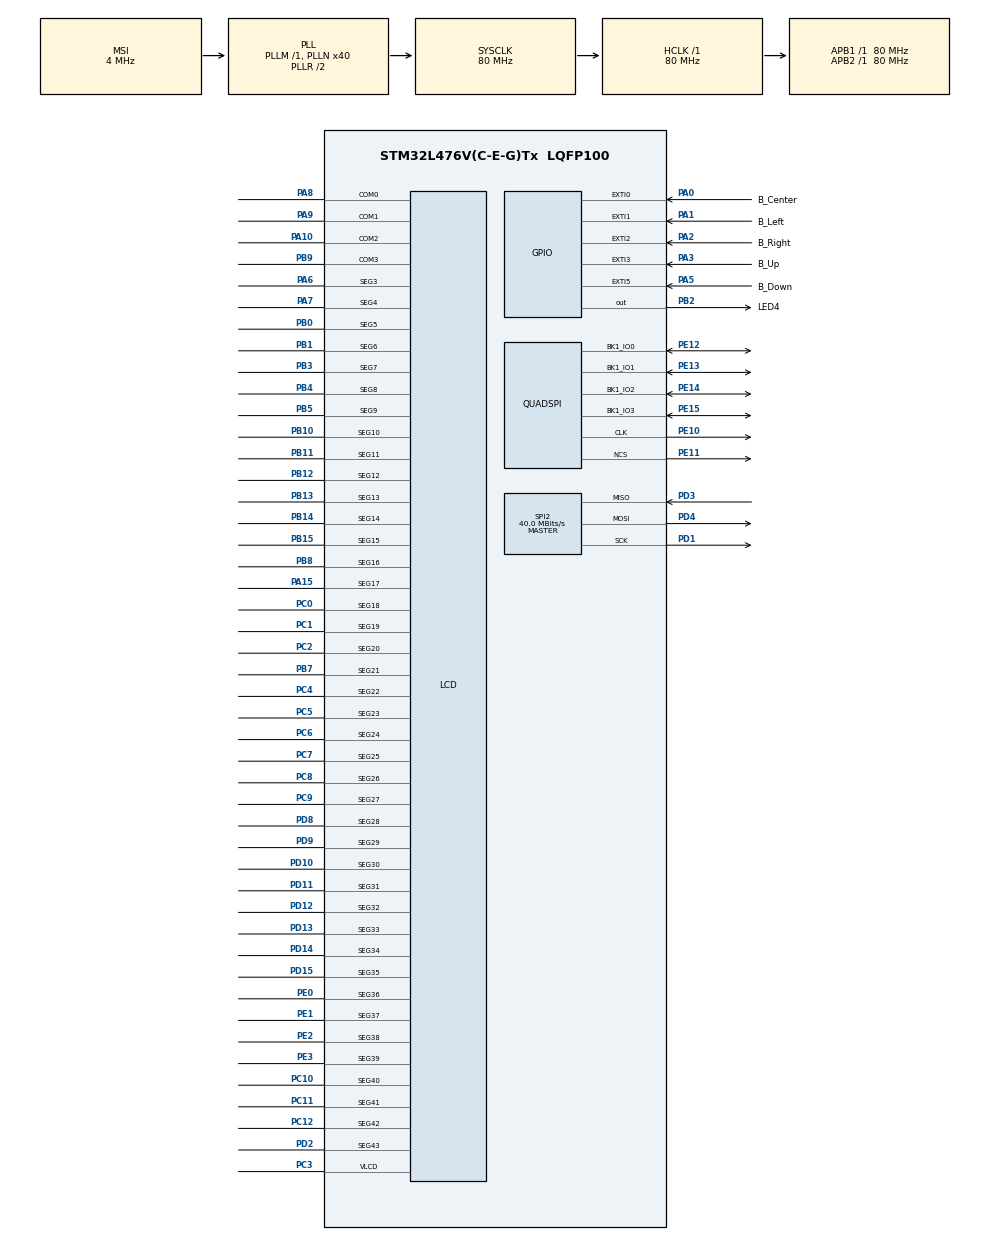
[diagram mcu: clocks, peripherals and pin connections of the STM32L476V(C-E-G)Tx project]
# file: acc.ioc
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Mcu.Family=STM32L4
Mcu.Name=STM32L476V(C-E-G)Tx
Mcu.Package=LQFP100
Mcu.UserConstants=TIM6_PRESCALER,39999;TIM6_PERIOD,1999
NVIC.EXTI0_IRQn=true\:0\:0\:false\:false\:true
NVIC.EXTI1_IRQn=true\:0\:0\:false\:false\:true
NVIC.EXTI2_IRQn=true\:0\:0\:false\:false\:true
NVIC.EXTI3_IRQn=true\:0\:0\:false\:false\:true
NVIC.EXTI9_5_IRQn=true\:0\:0\:false\:false\:true
NVIC.PriorityGroup=NVIC_PRIORITYGROUP_4
NVIC.TIM6_DAC_IRQn=true\:0\:0\:false\:false\:true
PA0.GPIO_Label=B_Center
PA0.Signal=GPXTI0
PA1.GPIO_Label=B_Left
PA1.Signal=GPXTI1
PA10.Mode=1/4 Duty Cycle
PA10.Signal=LCD_COM2
PA15.Mode=SEG17
PA15.Signal=LCD_SEG17
PA2.GPIO_Label=B_Right
PA2.Signal=GPXTI2
PA3.GPIO_Label=B_Up
PA3.Signal=GPXTI3
PA5.GPIO_Label=B_Down
PA5.Signal=GPXTI5
PA6.Mode=SEG3
PA6.Signal=LCD_SEG3
PA7.Mode=SEG4
PA7.Signal=LCD_SEG4
PA8.Mode=1/4 Duty Cycle
PA8.Signal=LCD_COM0
PA9.Mode=1/4 Duty Cycle
PA9.Signal=LCD_COM1
PB0.Mode=SEG5
PB0.Signal=LCD_SEG5
PB1.Mode=SEG6
PB1.Signal=LCD_SEG6
PB10.Mode=SEG10
PB10.Signal=LCD_SEG10
PB11.Mode=SEG11
PB11.Signal=LCD_SEG11
PB12.Mode=SEG12
PB12.Signal=LCD_SEG12
PB13.Mode=SEG13
PB13.Signal=LCD_SEG13
PB14.Mode=SEG14
PB14.Signal=LCD_SEG14
PB15.Mode=SEG15
PB15.Signal=LCD_SEG15
PB2.GPIO_Label=LED4
PB2.Signal=GPIO_Output
PB3.Mode=SEG7
PB3.Signal=LCD_SEG7
PB4.Mode=SEG8
PB4.Signal=LCD_SEG8
PB5.Mode=SEG9
PB5.Signal=LCD_SEG9
PB7.Mode=SEG21
PB7.Signal=LCD_SEG21
PB8.Mode=SEG16
PB8.Signal=LCD_SEG16
PB9.Mode=1/4 Duty Cycle
PB9.Signal=LCD_COM3
PC0.Mode=SEG18
PC0.Signal=LCD_SEG18
PC1.Mode=SEG19
PC1.Signal=LCD_SEG19
PC10.Mode=SEG40
PC10.Signal=LCD_SEG40
PC11.Mode=SEG41
PC11.Signal=LCD_SEG41
PC12.Mode=SEG42
PC12.Signal=LCD_SEG42
PC2.Mode=SEG20
PC2.Signal=LCD_SEG20
PC3.Mode=1/4 Duty Cycle
PC3.Signal=LCD_VLCD
PC4.Mode=SEG22
PC4.Signal=LCD_SEG22
PC5.Mode=SEG23
PC5.Signal=LCD_SEG23
PC6.Mode=SEG24
PC6.Signal=LCD_SEG24
PC7.Mode=SEG25
PC7.Signal=LCD_SEG25
PC8.Mode=SEG26
PC8.Signal=LCD_SEG26
PC9.Mode=SEG27
PC9.Signal=LCD_SEG27
PD1.Mode=Full_Duplex_Master
PD1.Signal=SPI2_SCK
PD10.Mode=SEG30
PD10.Signal=LCD_SEG30
PD11.Mode=SEG31
PD11.Signal=LCD_SEG31
PD12.Mode=SEG32
PD12.Signal=LCD_SEG32
PD13.Mode=SEG33
PD13.Signal=LCD_SEG33
PD14.Mode=SEG34
PD14.Signal=LCD_SEG34
PD15.Mode=SEG35
PD15.Signal=LCD_SEG35
PD2.Mode=SEG43
PD2.Signal=LCD_SEG43
PD3.Mode=Full_Duplex_Master
PD3.Signal=SPI2_MISO
PD4.Mode=Full_Duplex_Master
PD4.Signal=SPI2_MOSI
PD8.Mode=SEG28
PD8.Signal=LCD_SEG28
PD9.Mode=SEG29
PD9.Signal=LCD_SEG29
PE0.Mode=SEG36
PE0.Signal=LCD_SEG36
PE1.Mode=SEG37
PE1.Signal=LCD_SEG37
PE10.Mode=Single Bank
PE10.Signal=QUADSPI_CLK
PE11.Mode=Single Bank
PE11.Signal=QUADSPI_NCS
PE12.Mode=Single Bank
PE12.Signal=QUADSPI_BK1_IO0
PE13.Mode=Single Bank
PE13.Signal=QUADSPI_BK1_IO1
PE14.Mode=Single Bank
PE14.Signal=QUADSPI_BK1_IO2
PE15.Mode=Single Bank
PE15.Signal=QUADSPI_BK1_IO3
PE2.Mode=SEG38
PE2.Signal=LCD_SEG38
PE3.Mode=SEG39
PE3.Signal=LCD_SEG39
ProjectManager.HeapSize=0x200
ProjectManager.StackSize=0x400
ProjectManager.TargetToolchain=SW4STM32
QUADSPI.ClockPrescaler-Single\ Bank=1
QUADSPI.FifoThreshold-Single\ Bank=4
QUADSPI.FlashSize-Single\ Bank=23
RCC.AHBCLKDivider=RCC_SYSCLK_DIV1
RCC.AHBFreq_Value=80000000
RCC.APB1CLKDivider=RCC_HCLK_DIV1
RCC.APB1Freq_Value=80000000
RCC.APB1TimFreq_Value=80000000
RCC.APB2CLKDivider=RCC_HCLK_DIV1
RCC.APB2Freq_Value=80000000
RCC.APB2TimFreq_Value=80000000
RCC.ClockTypeHCLK=RCC_CLOCKTYPE_HCLK
RCC.ClockTypePCLK1=RCC_CLOCKTYPE_PCLK1
RCC.ClockTypePCLK2=RCC_CLOCKTYPE_PCLK2
RCC.ClockTypeSysClk=RCC_CLOCKTYPE_SYSCLK
RCC.CortexFreq_Value=80000000
RCC.Cortex_Div=SYSTICK_CLKSOURCE_HCLK
RCC.EnableCSSLSE=false
RCC.EnbaleCSS=false
RCC.HCLKFreq_Value=80000000
RCC.HSE_VALUE=8000000
RCC.HSI_VALUE=16000000
RCC.LSE_VALUE=32768
RCC.MSIClockRange=RCC_MSIRANGE_6
RCC.MSI_VALUE=4000000
RCC.PLLN=40
RCC.PLLP=RCC_PLLP_DIV7
RCC.PLLQ=RCC_PLLQ_DIV2
RCC.PLLR=RCC_PLLR_DIV2
RCC.PLLSAI1P=RCC_PLLP_DIV7
RCC.PLLSAI1Q=RCC_PLLQ_DIV2
RCC.PLLSAI1R=RCC_PLLR_DIV2
RCC.PLLSAI2P=RCC_PLLP_DIV7
RCC.PLLSAI2R=RCC_PLLR_DIV2
RCC.RCC_MCODiv=RCC_MCODIV_1
RCC.SYSCLKFreq_VALUE=80000000
RCC.SYSCLKSource=RCC_SYSCLKSOURCE_PLLCLK
RCC.VCOOutputFreq_Value=160000000
RTC.OutPut=RTC_OUTPUT_DISABLE
RTC.OutPutPolarity=RTC_OUTPUT_POLARITY_HIGH
RTC.OutPutType=RTC_OUTPUT_TYPE_OPENDRAIN
SPI2.CRCLength=SPI_CRC_LENGTH_DATASIZE
SPI2.CRCPolynomial=7
SPI2.CalculateBaudRate=40.0 MBits/s
SPI2.Direction=SPI_DIRECTION_2LINES
SPI2.Mode=SPI_MODE_MASTER
SPI2.VirtualType=VM_MASTER
TIM6.Period=TIM6_PERIOD
TIM6.Prescaler=TIM6_PRESCALER
TIM6.TIM_MasterSlaveMode=TIM_MASTERSLAVEMODE_DISABLE
VP_RTC_VS_RTC_Activate.Mode=RTC_Enabled
VP_RTC_VS_RTC_Calendar.Mode=RTC_Calendar
VP_TIM6_VS_ClockSourceINT.Mode=Enable_Timer
board=acc

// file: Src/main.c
/**
  ******************************************************************************
  * File Name          : main.c
  * Description        : Main program body
  ******************************************************************************
  *
  * COPYRIGHT(c) 2017 STMicroelectronics
  *
  * Redistribution and use in source and binary forms, with or without modification,
  * are permitted provided that the following conditions are met:
  *   1. Redistributions of source code must retain the above copyright notice,
  *      this list of conditions and the following disclaimer.
  *   2. Redistributions in binary form must reproduce the above copyright notice,
  *      this list of conditions and the following disclaimer in the documentation
  *      and/or other materials provided with the distribution.
  *   3. Neither the name of STMicroelectronics nor the names of its contributors
  *      may be used to endorse or promote products derived from this software
  *      without specific prior written permission.
  *
  * THIS SOFTWARE IS PROVIDED BY THE COPYRIGHT HOLDERS AND CONTRIBUTORS "AS IS"
  * AND ANY EXPRESS OR IMPLIED WARRANTIES, INCLUDING, BUT NOT LIMITED TO, THE
  * IMPLIED WARRANTIES OF MERCHANTABILITY AND FITNESS FOR A PARTICULAR PURPOSE ARE
  * DISCLAIMED. IN NO EVENT SHALL THE COPYRIGHT HOLDER OR CONTRIBUTORS BE LIABLE
  * FOR ANY DIRECT, INDIRECT, INCIDENTAL, SPECIAL, EXEMPLARY, OR CONSEQUENTIAL
  * DAMAGES (INCLUDING, BUT NOT LIMITED TO, PROCUREMENT OF SUBSTITUTE GOODS OR
  * SERVICES; LOSS OF USE, DATA, OR PROFITS; OR BUSINESS INTERRUPTION) HOWEVER
  * CAUSED AND ON ANY THEORY OF LIABILITY, WHETHER IN CONTRACT, STRICT LIABILITY,
  * OR TORT (INCLUDING NEGLIGENCE OR OTHERWISE) ARISING IN ANY WAY OUT OF THE USE
  * OF THIS SOFTWARE, EVEN IF ADVISED OF THE POSSIBILITY OF SUCH DAMAGE.
  *
  ******************************************************************************
  */
#include "main.h"
#include "stm32l4xx_hal.h"
#include "lcd.h"
#include "quadspi.h"
#include "rtc.h"
#include "spi.h"
#include "tim.h"
#include "gpio.h"

/* USER CODE BEGIN Includes */
#include "stm32l476g_discovery_glass_lcd.h"
#include "stm32l476g_discovery_gyroscope.h"
#include "stm32l476g_discovery_compass.h"
#include "stm32l476g_discovery_qspi.h"
#define ABS(x)                    (x < 0) ? (-x) : x
#define ACC_THRESHOLD_DETECTION 50
#define HEX_2_DEC(val) (((val)/16)*10+((val)%16))
#define DEC_2_HEX(val) (((val)/10)*16+((val)%10))
#define max(a,b) (a>=b?a:b)
#define min(a,b) (a<=b?a:b)
/* USER CODE END Includes */

/* USER CODE BEGIN PV */
/* Private variables ---------------------------------------------------------*/
  volatile int liczbadanych;
  volatile int tablicadanych[1000];
  volatile int tablicaczasow[1000];
  volatile int cowyswietlic=6;
  volatile int pierwszeuruchomienie=1;
  volatile int flaginterrupt=1;
  volatile int displaycase=0;
uint32_t cm=0;
int16_t axisXYZ[3];
/* Gyroscope variables */
int16_t buffer[3] = {0};
 int32_t xval = 0;
 int32_t yval = 0;
 int32_t zval = 0;
 uint32_t xvalabs = 0;
 uint32_t yvalabs = 0;
 uint32_t zvalabs = 0;
 uint32_t acceleval = 0;
int32_t xs = 0;
int32_t ys = 0;
int32_t zs = 0;
int32_t xv = 0;
int32_t yv = 0;
int32_t zv = 0;
int32_t xoff = 0;
int32_t yoff = 0;
int32_t zoff = 0;
int32_t vvv = 0;
  uint16_t datatodisplay[LCD_DIGIT_MAX_NUMBER] = {0};
  uint8_t i = 0;
#define displaycase_up 2
#define displaycase_down 3
#define displaycase_left 1
#define displaycase_center 4
#define displaycase_right 5

  kompas backup;
/* USER CODE END PV */

void SystemClock_Config(void);
void Error_Handler(void);

/* USER CODE BEGIN PFP */
/* Private function prototypes -----------------------------------------------*/
static void Gyro_Convert(uint8_t Axis, int32_t Value, uint16_t *DisplayString);
void Compass_Calib(kompas *backup);
void Compass_Run(void);
void HAL_GPIO_EXTI_Callback(uint16_t GPIO_Pin)
{
	if((GPIO_Pin & SEL_JOY_PIN)!= RESET && flaginterrupt==0) flaginterrupt = 1;
	if((GPIO_Pin & SEL_JOY_PIN)!= RESET && flaginterrupt==1) displaycase = displaycase_center;
	if((GPIO_Pin & LEFT_JOY_PIN)!= RESET) displaycase = displaycase_left;
	if((GPIO_Pin & RIGHT_JOY_PIN)!= RESET) displaycase = displaycase_right;
	if((GPIO_Pin & UP_JOY_PIN)!= RESET) displaycase = displaycase_up;
	if((GPIO_Pin & DOWN_JOY_PIN)!= RESET) displaycase = displaycase_down;
}
/* USER CODE END PFP */

/* USER CODE BEGIN 0 */
void HAL_TIM_PeriodElapsedCallback(TIM_HandleTypeDef *htim)
{
	if (htim==&htim6)
	{
		if(flaginterrupt==0) flaginterrupt=2;
	}
}

void Convert_IntegerIntoChar(uint32_t number, uint16_t *p_tab)
{
  uint16_t units=0, tens=0, hundreds=0, thousands=0, tenthousand=0, hundredthousand=0;

  units = ((((number%100000)%10000)%1000)%100)%10;
  tens = (((((number-units)/10)%10000)%1000)%100)%10;
  hundreds = ((((number-tens-units)/100)%1000)%100)%10;
  thousands = (((number-hundreds-tens-units)/1000)%100)%10;
  tenthousand = ((number-thousands-hundreds-tens-units)/10000)%10;
  hundredthousand = ((number-tenthousand-thousands-hundreds-tens-units)/100000);

  *(p_tab+5) = units + 0x30;
  *(p_tab+4) = tens + 0x30;
  *(p_tab+3) = hundreds + 0x30;
  *(p_tab+2) = thousands + 0x30;
  *(p_tab+1) = tenthousand + 0x30;
  *(p_tab+0) = hundredthousand + 0x30;
}

int32_t sq_rt(int32_t val)
{
	int32_t root = 0;

	if(val < 0)
		return root;
	while(root*root < val)
	{
		root++;
	}
	return root;
}

/* USER CODE END 0 */

int main(void)
{

  /* USER CODE BEGIN 1 */
	liczbadanych=0;

  /* USER CODE END 1 */

  /* MCU Configuration----------------------------------------------------------*/

  /* Reset of all peripherals, Initializes the Flash interface and the Systick. */
  HAL_Init();

  /* Configure the system clock */
  SystemClock_Config();

  /* Initialize all configured peripherals */
  MX_GPIO_Init();
  MX_LCD_Init();
  MX_TIM6_Init();
  MX_RTC_Init();
  MX_SPI2_Init();
  MX_QUADSPI_Init();

  /* USER CODE BEGIN 2 */
  HAL_GPIO_WritePin(LED4_GPIO_PORT, LED4_PIN, SET);
  HAL_TIM_Base_Start_IT(&htim6);
  BSP_LCD_GLASS_Init();
  if (BSP_COMPASS_Init() == COMPASS_ERROR)
  {
	  BSP_LCD_GLASS_DisplayString("err");
	  while (1){}
  }
  if (BSP_GYRO_Init() == GYRO_ERROR)
    {
  	  BSP_LCD_GLASS_DisplayString("err");
  	  while (1){}
    }
  if (BSP_QSPI_Init() != QSPI_OK)
	{
	  BSP_LCD_GLASS_DisplayString("err");
	  while (1){}
	}
  BSP_JOY_Init(JOY_MODE_EXTI);
  /* USER CODE END 2 */

  /* Infinite loop */
  /* USER CODE BEGIN WHILE */
  //calibration

  for (int i=0; i<128; i++)
  {
	  BSP_COMPASS_AccGetXYZ(buffer);
	  xval = (int32_t) buffer[0];
	  yval = (int32_t) buffer[1];
	  zval = (int32_t) buffer[2];
	  xoff += xval;
	  yoff += yval;
	  zoff += zval;
	  HAL_Delay(5);
  }
  xoff = xoff >> 7;
  yoff = yoff >> 7;
  zoff = zoff >> 7;
  //Compass_Calib(&backup);
  HAL_GPIO_WritePin(LED4_GPIO_PORT, LED4_PIN, RESET);
  //Compass_Run();
  int tick;
  while (1)
  {
	  if(flaginterrupt==0)
	  {
		  tick=HAL_GetTick();
		  BSP_COMPASS_AccGetXYZ(buffer);

		  /* Get absolute value */
		  xval = (((int32_t) buffer[0])-xoff)*61/1000;
		  yval = (((int32_t) buffer[1])-yoff)*61/1000;
		  zval = (((int32_t) buffer[2])-zoff)*61/1000;
		  xvalabs = ABS(xval);
		  yvalabs = ABS(yval);
		  zvalabs = ABS(zval);
		  if(xvalabs < ACC_THRESHOLD_DETECTION) xval=0;
		  if(yvalabs < ACC_THRESHOLD_DETECTION) yval=0;
		  if(zvalabs < ACC_THRESHOLD_DETECTION) zval=0;
		  xv+=xval/100;
		  yv+=yval/100;
		  zv+=zval/100;
		  acceleval=sq_rt(xvalabs*xvalabs+yvalabs*yvalabs+zvalabs*zvalabs);
		  vvv=sq_rt(xv*xv+yv*yv+zv*zv);
		  /* reset display buffer */
		  for(i = 0; i < LCD_DIGIT_MAX_NUMBER; i++)
		  {
			datatodisplay[i] = 0;
		  }
		  if(cowyswietlic==0) Gyro_Convert('A', acceleval, datatodisplay);
		  if(cowyswietlic==1) Gyro_Convert('V', vvv, datatodisplay);
		  if(cowyswietlic==2) Gyro_Convert('X', xvalabs, datatodisplay);
		  if(cowyswietlic==3) Gyro_Convert('Y', yvalabs, datatodisplay);
		  if(cowyswietlic==4) Gyro_Convert('Z', zvalabs, datatodisplay);
		  BSP_LCD_GLASS_DisplayStrDeci(datatodisplay);
		  while((HAL_GetTick() - tick) < 2)
		  {
		  }
		  /* insert Delay */
		  HAL_Delay(2);
	  }
	  else if(flaginterrupt==1)//przycisk i wyswietlanie
	  {
		  BSP_LCD_GLASS_ScrollSentence("       PAUSE",1,SCROLL_SPEED_HIGH);
		  BSP_LCD_GLASS_Clear();
		  displaycase=0;
		  HAL_Delay(50);
		  while(displaycase!=displaycase_center && !pierwszeuruchomienie)
		  {
			  if(displaycase==displaycase_up)
			  {
				  displaycase=0;
				  cowyswietlic--;
				  if (cowyswietlic<0) cowyswietlic=6;
				  HAL_Delay(50);
			  }
			  if(displaycase==displaycase_down)
			  {
				  displaycase=0;
				  cowyswietlic++;
				  if (cowyswietlic>6) cowyswietlic=0;
				  HAL_Delay(50);
			  }
			  HAL_Delay(50);
			  if(cowyswietlic==0)
			  {
				  BSP_LCD_GLASS_Clear();
				  BSP_LCD_GLASS_DisplayString("  Acc ");
			  }
			  if(cowyswietlic==1)
			  {
				  BSP_LCD_GLASS_Clear();
				  BSP_LCD_GLASS_DisplayString("  Vel");
			  }
			  if(cowyswietlic==2)
			  {
				  BSP_LCD_GLASS_Clear();
				  BSP_LCD_GLASS_DisplayString("  Ax");
			  }
			  if(cowyswietlic==3)
			  {
				  BSP_LCD_GLASS_Clear();
				  BSP_LCD_GLASS_DisplayString("  Ay");
			  }
			  if(cowyswietlic==4)
			  {
				  BSP_LCD_GLASS_Clear();
				  BSP_LCD_GLASS_DisplayString("  Az");
			  }
			  if(cowyswietlic==5)
			  {
				  BSP_LCD_GLASS_Clear();
				  BSP_LCD_GLASS_DisplayString(" Hist");
			  }
			  if(cowyswietlic==6)
			  {
				  BSP_LCD_GLASS_Clear();
				  BSP_LCD_GLASS_DisplayString(" Time");
			  }

		  }
		  if(cowyswietlic==5)
		  {
			  int i=liczbadanych;
			  uint16_t *DisplayString;
			  int valortime=0;
			  do
			  {
				  BSP_LCD_GLASS_Clear();
				  for(int j = 0; j < LCD_DIGIT_MAX_NUMBER; j++)
				  {
					  datatodisplay[i] = 0;
				  }
				  if(valortime==0)
				  {
					  uint8_t *ptr;
					  BSP_QSPI_Read(ptr,i*N25Q128A_SUBSECTOR_SIZE,0x1000);
					  //Gyro_Convert('H', tablicadanych[i], datatodisplay);
					  Gyro_Convert('H', ptr, datatodisplay);
					  BSP_LCD_GLASS_DisplayStrDeci(datatodisplay);
				  }
				  if(valortime==1)
				  {
					  int hh=tablicaczasow[i]/10000;
					  int mm=(tablicaczasow[i]-hh*10000)/100;
					  int ss=tablicaczasow[i]-hh*10000-mm*100;
					  char text[6] = {0};
					  sprintf(text,"%.2u%.2u%.2u",hh,mm,ss);
					  BSP_LCD_GLASS_DisplayString(text);
				  }

				  if(displaycase==displaycase_up)
				  {
					  displaycase=0;
					  i--;
					  if (i<0) i=liczbadanych;
					  HAL_Delay(50);
				  }
				  if(displaycase==displaycase_down)
				  {
					  displaycase=0;
					  i++;
					  if (i>liczbadanych) i=0;
					  HAL_Delay(50);
				  }
				  if(displaycase==displaycase_right)
				  {
					  displaycase=0;
					  if(valortime==0) valortime=1;
					  else if(valortime==1) valortime=0;
					  HAL_Delay(50);
				  }
				  HAL_Delay(50);
			  } while(displaycase!=displaycase_left);
			  cowyswietlic=0;
		  }
		  if(cowyswietlic==6)
		  {
			  int hour=23;
			  int minute=59;
			  int second=59;
			  int ifh=0, ifm=0, ifs=0;
			  int tm=10000*hour+100*minute+second;
			  displaycase=0;
			  do
			  {
				  HAL_Delay(50);
				  BSP_LCD_GLASS_Clear();
				  for(int j = 0; j < LCD_DIGIT_MAX_NUMBER; j++) datatodisplay[i] = 0;
				  Gyro_Convert('TH', hour, datatodisplay);
				  BSP_LCD_GLASS_DisplayStrDeci(datatodisplay);
				  if(displaycase==displaycase_up)
				  {
					  displaycase=0;
					  hour--;
					  if(hour<0) hour=23;
					  HAL_Delay(50);
				  }
				  if(displaycase==displaycase_down)
				  {
					  displaycase=0;
					  hour++;
					  if(hour>23) hour=0;
					  HAL_Delay(50);
				  }
				  tm=10000*hour+100*minute+second;
			  }while(displaycase!=displaycase_center);
			  displaycase=0;
			  do
			  			  {
			  				  HAL_Delay(50);
			  				  BSP_LCD_GLASS_Clear();
			  				  for(int j = 0; j < LCD_DIGIT_MAX_NUMBER; j++) datatodisplay[i] = 0;
			  				  Gyro_Convert('TM', minute, datatodisplay);
			  				  BSP_LCD_GLASS_DisplayStrDeci(datatodisplay);
			  				  if(displaycase==displaycase_up)
			  				  {
			  					  displaycase=0;
			  					  minute--;
			  					  if(hour<0) minute=59;
			  					  HAL_Delay(50);
			  				  }
			  				  if(displaycase==displaycase_down)
			  				  {
			  					  displaycase=0;
			  					  minute++;
			  					  if(minute>23) minute=0;
			  					  HAL_Delay(50);
			  				  }
			  				  tm=10000*hour+100*minute+second;
			  			  }while(displaycase!=displaycase_center);
			  displaycase=0;
			  do
			  			  {
			  				  HAL_Delay(50);
			  				  BSP_LCD_GLASS_Clear();
			  				  for(int j = 0; j < LCD_DIGIT_MAX_NUMBER; j++) datatodisplay[i] = 0;
			  				  Gyro_Convert('TS', second, datatodisplay);
			  				  BSP_LCD_GLASS_DisplayStrDeci(datatodisplay);
			  				  if(displaycase==displaycase_up)
			  				  {
			  					  displaycase=0;
			  					  second--;
			  					  if(second<0) second=59;
			  					  HAL_Delay(50);
			  				  }
			  				  if(displaycase==displaycase_down)
			  				  {
			  					  displaycase=0;
			  					  second++;
			  					  if(second>23) second=0;
			  					  HAL_Delay(50);
			  				  }
			  				  tm=10000*hour+100*minute+second;
			  			  }while(displaycase!=displaycase_center);
			  RTC_TimeTypeDef timee;
			  timee.Hours=hour;
			  timee.Minutes=minute;
			  timee.Seconds=second;
			  HAL_RTC_SetTime(&hrtc,&timee,RTC_FORMAT_BIN);
			  displaycase=0;
			  cowyswietlic=0;
			  pierwszeuruchomienie=0;
		  }
		  displaycase=0;
		  flaginterrupt=0;
		  BSP_LCD_GLASS_Clear();
	  }
	  else if(flaginterrupt==2)//zapis do flasha tyle, ze nie do flasha
	  {
		  RTC_TimeTypeDef timee;
		  RTC_DateTypeDef datee;
		  HAL_RTC_GetTime(&hrtc, &timee, RTC_FORMAT_BIN);
		  HAL_RTC_GetDate(&hrtc, &datee, RTC_FORMAT_BIN);
		  int timees=10000*timee.Hours+100*timee.Minutes+timee.Seconds;
		  if(liczbadanych==1000) liczbadanych=0;
		  if(acceleval!=0)
		  {
			  tablicadanych[liczbadanych]=acceleval;
			  tablicaczasow[liczbadanych]=timees;
			  liczbadanych++;
		  }
		  BSP_QSPI_Write(acceleval,N25Q128A_SUBSECTOR_SIZE*liczbadanych,2048);
		  BSP_QSPI_Write(timees,N25Q128A_SUBSECTOR_SIZE*liczbadanych+2048,2048);
		  HAL_Delay(1);
		  flaginterrupt=0;
	  }
  }
  /* USER CODE END WHILE */

}

/** System Clock Configuration
*/
void SystemClock_Config(void)
{

  RCC_OscInitTypeDef RCC_OscInitStruct;
  RCC_ClkInitTypeDef RCC_ClkInitStruct;
  RCC_PeriphCLKInitTypeDef PeriphClkInit;

    /**Initializes the CPU, AHB and APB busses clocks
    */
  RCC_OscInitStruct.OscillatorType = RCC_OSCILLATORTYPE_LSI|RCC_OSCILLATORTYPE_MSI;
  RCC_OscInitStruct.LSIState = RCC_LSI_ON;
  RCC_OscInitStruct.MSIState = RCC_MSI_ON;
  RCC_OscInitStruct.MSICalibrationValue = 0;
  RCC_OscInitStruct.MSIClockRange = RCC_MSIRANGE_6;
  RCC_OscInitStruct.PLL.PLLState = RCC_PLL_ON;
  RCC_OscInitStruct.PLL.PLLSource = RCC_PLLSOURCE_MSI;
  RCC_OscInitStruct.PLL.PLLM = 1;
  RCC_OscInitStruct.PLL.PLLN = 40;
  RCC_OscInitStruct.PLL.PLLP = RCC_PLLP_DIV7;
  RCC_OscInitStruct.PLL.PLLQ = RCC_PLLQ_DIV2;
  RCC_OscInitStruct.PLL.PLLR = RCC_PLLR_DIV2;
  if (HAL_RCC_OscConfig(&RCC_OscInitStruct) != HAL_OK)
  {
    Error_Handler();
  }

    /**Initializes the CPU, AHB and APB busses clocks
    */
  RCC_ClkInitStruct.ClockType = RCC_CLOCKTYPE_HCLK|RCC_CLOCKTYPE_SYSCLK
                              |RCC_CLOCKTYPE_PCLK1|RCC_CLOCKTYPE_PCLK2;
  RCC_ClkInitStruct.SYSCLKSource = RCC_SYSCLKSOURCE_PLLCLK;
  RCC_ClkInitStruct.AHBCLKDivider = RCC_SYSCLK_DIV1;
  RCC_ClkInitStruct.APB1CLKDivider = RCC_HCLK_DIV1;
  RCC_ClkInitStruct.APB2CLKDivider = RCC_HCLK_DIV1;

  if (HAL_RCC_ClockConfig(&RCC_ClkInitStruct, FLASH_LATENCY_4) != HAL_OK)
  {
    Error_Handler();
  }

  PeriphClkInit.PeriphClockSelection = RCC_PERIPHCLK_RTC;
  PeriphClkInit.RTCClockSelection = RCC_RTCCLKSOURCE_LSI;
  if (HAL_RCCEx_PeriphCLKConfig(&PeriphClkInit) != HAL_OK)
  {
    Error_Handler();
  }

    /**Configure the main internal regulator output voltage
    */
  if (HAL_PWREx_ControlVoltageScaling(PWR_REGULATOR_VOLTAGE_SCALE1) != HAL_OK)
  {
    Error_Handler();
  }

    /**Configure the Systick interrupt time
    */
  HAL_SYSTICK_Config(HAL_RCC_GetHCLKFreq()/1000);

    /**Configure the Systick
    */
  HAL_SYSTICK_CLKSourceConfig(SYSTICK_CLKSOURCE_HCLK);

  /* SysTick_IRQn interrupt configuration */
  HAL_NVIC_SetPriority(SysTick_IRQn, 0, 0);
}

/* USER CODE BEGIN 4 */
static void Gyro_Convert(uint8_t Axis, int32_t Value, uint16_t *DisplayString)
{
  uint8_t i = 0;
  uint32_t valuetoconvert = 0;

  valuetoconvert = (uint32_t) (ABS(Value));

  Convert_IntegerIntoChar(valuetoconvert, DisplayString);

	while(*(DisplayString + i) == '0')
	{
		  *(DisplayString + i) = ' ';
		  i++;
	}
	if (valuetoconvert==0) *(DisplayString+i-1)='0';
  /* Add Axis information 1st digit */
  *(DisplayString) = (uint16_t) Axis | DOUBLE_DOT;

  /* Handle negative value */
  if(Value < 0)
  {
    *(DisplayString + 1) = '-';
  }
}

void Compass_Calib(kompas *backup)
{
	int16_t MagBuffer[3];
	displaycase=0;

	  /* Display Info on LCD */
	  BSP_LCD_GLASS_Clear();
	  BSP_LCD_GLASS_ScrollSentence((uint8_t*)"      ROTATE BOARD ON ALL AXIS", 1, SCROLL_SPEED_HIGH);
	  BSP_LCD_GLASS_Clear();
	  BSP_LCD_GLASS_DisplayString((uint8_t*)"STOP");

	  /* Wait first measure */
	  HAL_Delay(25);

	  /* Loop to perform compass calibration */
	  do {
	    /* Get magnetometer values */
	    BSP_COMPASS_MagGetXYZ(MagBuffer);
	    /* Store maximum and minimum values */
	    backup->XmMax = max((int32_t) MagBuffer[0],backup->XmMax);
	    backup->XmMin = min((int32_t) MagBuffer[0],backup->XmMin);
	    backup->YmMax = max((int32_t) MagBuffer[1],backup->YmMax);
	    backup->YmMin = min((int32_t) MagBuffer[1],backup->YmMin);
	    backup->ZmMax = max((int32_t) MagBuffer[2],backup->ZmMax);
	    backup->ZmMin = min((int32_t) MagBuffer[2],backup->ZmMin);

	  } while(displaycase!=displaycase_center);
	  displaycase=0;
}

void Compass_Run(void)
{
	char  string_display[7];
	  displaycase=0;
	  do {
		  /* Read Gyroscope Angular data */
		      BSP_GYRO_GetXYZ(buffer);

		      /* Get absolute value */
		      xval = (int32_t) buffer[0] >>6;
		      yval = (int32_t) buffer[1] >>6;
		      zval = (int32_t) buffer[2] >>6;
		      xvalabs = ABS(xval);
		      yvalabs = ABS(yval);
		      zvalabs = ABS(zval);

	        sprintf(string_display," %3d",(int16_t) xval);
	        BSP_LCD_GLASS_Clear();
	        BSP_LCD_GLASS_DisplayString((uint8_t*)string_display);
	  } while(displaycase!=displaycase_center);
	  	  displaycase=0;
}

/* USER CODE END 4 */

void Error_Handler(void)
{
  while(1)
  {
  }
}

/************************ (C) COPYRIGHT STMicroelectronics *****END OF FILE****/
